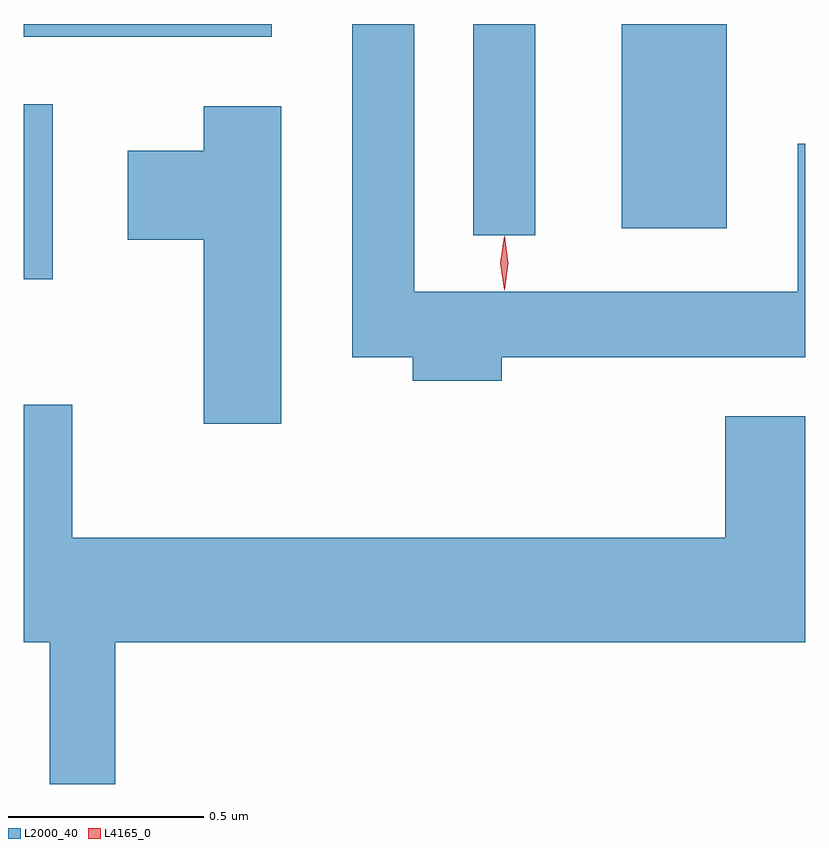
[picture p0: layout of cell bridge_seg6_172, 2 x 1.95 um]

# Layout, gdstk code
import gdstk
lib = gdstk.Library(unit=1e-6, precision=1e-09)
def R(c, l, rs):  # rectangles x0, y0, x1, y1
    for r in rs: c.add(gdstk.rectangle(r[:2], r[2:], *l))
def P(c, l, *ps):  # polygons
    for p in ps: c.add(gdstk.Polygon(p, *l))
L2000_40 = (2000, 40)
L4165_0 = (4165, 0)

bridge_seg6_172 = lib.new_cell('bridge_seg6_172')
R(bridge_seg6_172, L2000_40, [(1050.295,1579.826,1050.369,1580.274), (1051.446,1579.938,1051.604,1580.479), (1051.826,1579.956,1052.094,1580.479), (1050.295,1580.446,1050.929,1580.479)])
P(bridge_seg6_172, L2000_40, [(1051.519,1579.626),(1052.295,1579.626),(1052.295,1580.173),(1052.276,1580.173),(1052.276,1579.794),(1051.294,1579.794),(1051.294,1580.479),(1051.136,1580.479),(1051.136,1579.626),(1051.291,1579.626),(1051.291,1579.566),(1051.519,1579.566)],
  [(1050.954,1580.269),(1050.756,1580.269),(1050.756,1580.154),(1050.561,1580.154),(1050.561,1579.926),(1050.756,1579.926),(1050.756,1579.456),(1050.954,1579.456)],
  [(1050.529,1578.896),(1052.295,1578.896),(1052.295,1579.474),(1052.091,1579.474),(1052.091,1579.164),(1050.419,1579.164),(1050.419,1579.504),(1050.295,1579.504),(1050.295,1578.896),(1050.361,1578.896),(1050.361,1578.533),(1050.529,1578.533)])
P(bridge_seg6_172, L4165_0, [(1051.525,1579.799),(1051.525,1579.8),(1051.515,1579.866),(1051.525,1579.932),(1051.525,1579.933),(1051.526,1579.932),(1051.535,1579.866),(1051.526,1579.8)],
  [(1051.525,1579.797),(1051.525,1579.798),(1051.515,1579.867),(1051.525,1579.936),(1051.525,1579.936),(1051.526,1579.936),(1051.535,1579.867),(1051.526,1579.798)])

lib.write_gds('bridge_seg6_172.gds')
